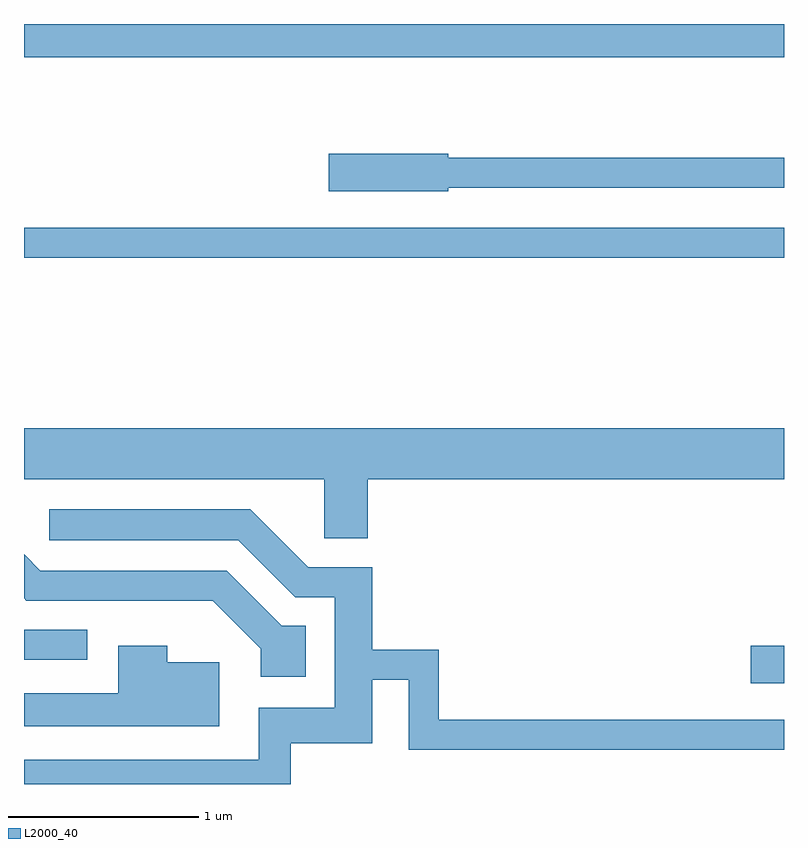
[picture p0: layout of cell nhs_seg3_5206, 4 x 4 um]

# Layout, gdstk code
import gdstk
lib = gdstk.Library(unit=1e-6, precision=1e-09)
def R(c, l, rs):  # rectangles x0, y0, x1, y1
    for r in rs: c.add(gdstk.rectangle(r[:2], r[2:], *l))
def P(c, l, *ps):  # polygons
    for p in ps: c.add(gdstk.Polygon(p, *l))
L2000_40 = (2000, 40)

nhs_seg3_5206 = lib.new_cell('nhs_seg3_5206')
R(nhs_seg3_5206, L2000_40, [(341.436,1200.421,341.611,1200.619), (337.611,1200.546,337.943,1200.704), (337.611,1202.661,341.611,1202.819), (337.611,1203.716,341.611,1203.892)])
P(nhs_seg3_5206, L2000_40, [(339.844,1203.031),(341.611,1203.031),(341.611,1203.189),(339.844,1203.189),(339.844,1203.209),(339.216,1203.209),(339.216,1203.011),(339.844,1203.011)],
  [(339.419,1201.496),(341.611,1201.496),(341.611,1201.764),(337.611,1201.764),(337.611,1201.496),(339.191,1201.496),(339.191,1201.186),(339.419,1201.186)],
  [(339.014,1200.106),(339.444,1200.106),(339.444,1200.441),(339.636,1200.441),(339.636,1200.071),(341.611,1200.071),(341.611,1200.229),(339.794,1200.229),(339.794,1200.599),(339.444,1200.599),(339.444,1201.034),(339.107,1201.034),(338.802,1201.339),(337.743,1201.339),(337.743,1201.176),(338.739,1201.176),(339.039,1200.876),(339.246,1200.876),(339.246,1200.294),(338.846,1200.294),(338.846,1200.019),(337.611,1200.019),(337.611,1199.892),(339.014,1199.892)],
  [(339.094,1200.724),(338.967,1200.724),(338.677,1201.014),(337.697,1201.014),(337.611,1201.1),(337.611,1200.869),(337.624,1200.856),(338.604,1200.856),(338.856,1200.604),(338.856,1200.456),(339.094,1200.456)],
  [(338.639,1200.534),(338.364,1200.534),(338.364,1200.619),(338.106,1200.619),(338.106,1200.369),(337.611,1200.369),(337.611,1200.196),(338.639,1200.196)])

lib.write_gds('nhs_seg3_5206.gds')
